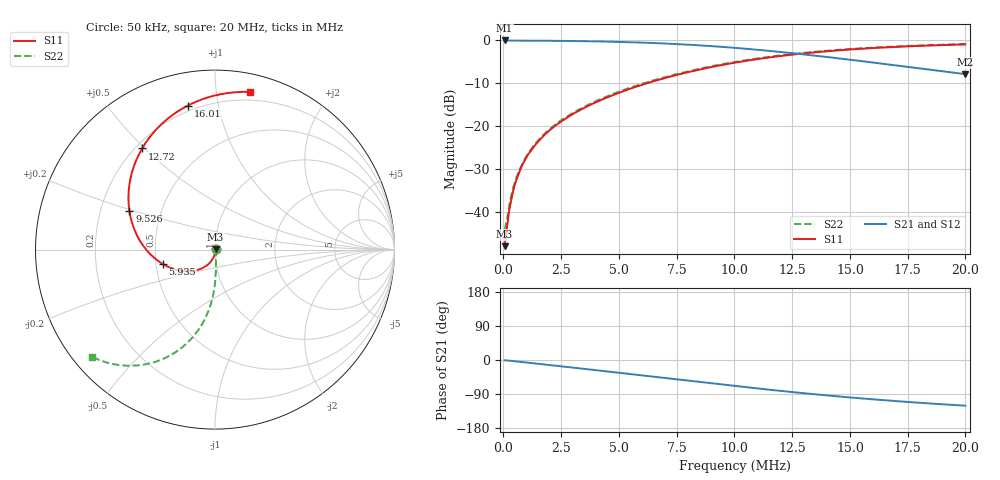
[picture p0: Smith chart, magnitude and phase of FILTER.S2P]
!Keysight Technologies,E5063A,MY54100949,A.07.30
!Date: Thu Dec 25 00:17:55 2025
!Data & Calibration Information:
!Freq	S11:SOLT2(ON)	S21:SOLT2(ON)	S12:SOLT2(ON)	S22:SOLT2(ON)
# Hz S RI R 50
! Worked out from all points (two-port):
!   201 points, 50 kHz to 20 MHz, reference 50 ohm
!   highest |S21| = 0.01 dB at 50 kHz (marker M1); lowest = -7.8 dB at 20 MHz (marker M2)
!   |S21| within 3 dB of the highest: start of sweep to 12.57 MHz
!   lowest |S11| = -47.8 dB at 50 kHz (marker M3), VSWR 1.01, Z = 50.3 + j0.267 ohm
!   |S11| at or under -10 dB: start of sweep to 6.182 MHz
!   |S22| runs from -44.0 to -0.8 dB; largest |S21 - S12| = 0.002
!   S11 on the Smith chart (normalised r, x): 50 kHz: 1.01, +0.01; 5.935 MHz: 0.54, -0.10; 9.526 MHz: 0.33, +0.19; 12.72 MHz: 0.23, +0.49; 16.01 MHz: 0.17, +0.81; 20 MHz: 0.13, +1.24
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50000  0.00307 0.00265  1.001 -0.0136  0.9997 -0.0118  0.0059 0.00229
149750  0.00287 -0.00595  0.9967 -0.0204  0.997 -0.0189  0.0058 -0.00578
249500  0.00197 -0.0104  0.9963 -0.0308  0.9968 -0.0295  0.00523 -0.0108
449000  -0.000238 -0.0192  0.9946 -0.0535  0.996 -0.0524  0.00495 -0.0199
748250  -0.00367 -0.0323  0.9918 -0.0875  0.993 -0.087  0.00485 -0.0333
1047500  -0.00936 -0.0457  0.9879 -0.1214  0.9886 -0.1211  0.00515 -0.0469
1446500  -0.0191 -0.0613  0.9803 -0.1667  0.9805 -0.166  0.00547 -0.0664
2045000  -0.0394 -0.0834  0.9639 -0.2336  0.9644 -0.2331  0.00511 -0.0951
3441500  -0.1117 -0.1169  0.9038 -0.384  0.9041 -0.3833  0.00193 -0.1666
4838000  -0.2083 -0.1141  0.8136 -0.5196  0.814 -0.5188  -0.00847 -0.2443
5935250  -0.2907 -0.0806  0.723 -0.6105  0.7237 -0.6098  -0.0248 -0.3088
6733250  -0.3477 -0.0374  0.6479 -0.6658  0.6487 -0.6647  -0.0424 -0.3563
8129750  -0.4307 0.0715  0.5027 -0.7338  0.5037 -0.7332  -0.0862 -0.4383
9526250  -0.4768 0.2143  0.3515 -0.7633  0.3528 -0.7626  -0.1475 -0.5128
1.0025e7  -0.4818 0.2699  0.2986 -0.7645  0.2999 -0.7641  -0.1726 -0.536
1.132175e7  -0.4663 0.4163  0.1691 -0.7464  0.1704 -0.7464  -0.2453 -0.5869
1.271825e7  -0.4061 0.5635  0.0496 -0.7001  0.0506 -0.7005  -0.3289 -0.624
1.34165e7  -0.3622 0.6284  -0.000882 -0.6697  0.000101 -0.6701  -0.3712 -0.6357
1.601e7  -0.1513 0.8027  -0.1328 -0.5377  -0.1323 -0.5384  -0.5176 -0.6451
1.670825e7  -0.0884 0.8308  -0.155 -0.5015  -0.1546 -0.5022  -0.5524 -0.6405
1.830425e7  0.0541 0.8698  -0.1892 -0.4231  -0.1891 -0.4238  -0.6236 -0.6226
2e7  0.1964 0.8783  -0.2064 -0.3494  -0.2065 -0.3501  -0.686 -0.5966
